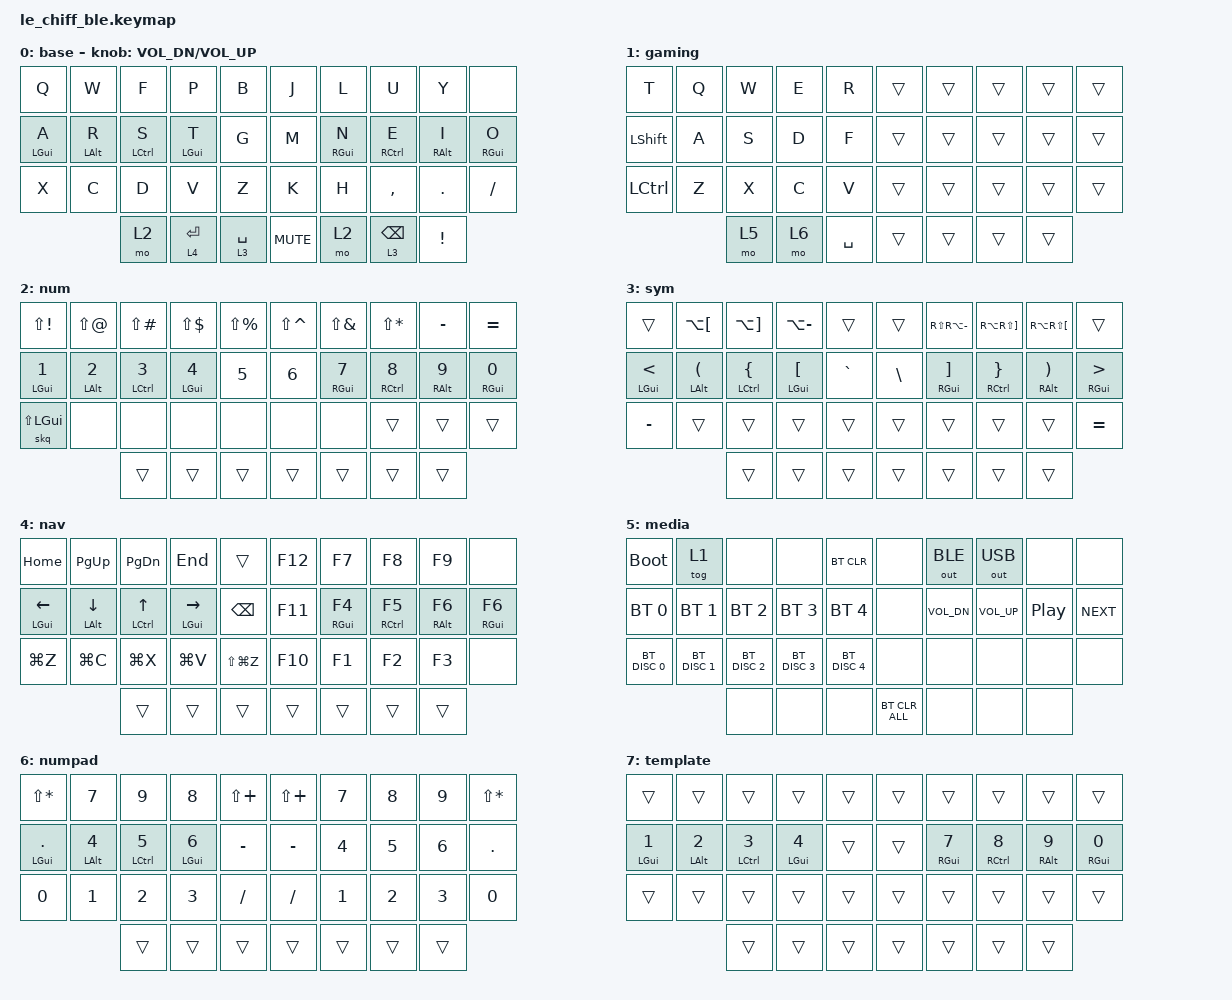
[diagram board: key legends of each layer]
/*
 * Copyright (c) 2021 @MangoIV
 *
 * SPDX-License-Identifier: MIT
 */

#include <behaviors.dtsi>
#include <dt-bindings/zmk/bt.h>
#include <dt-bindings/zmk/keys.h>
#include <dt-bindings/zmk/outputs.h>

// makes it possible to hold backspace

&lt { quick_tap_ms = <200>; };

/ {
    combos {
        compatible = "zmk,combos";

        tab {
            bindings = <&kp TAB>;
            key-positions = <3 2>;
        };

        esc {
            bindings = <&kp ESC>;
            key-positions = <1 2>;
        };

        semi {
            bindings = <&kp SEMI>;
            key-positions = <12 13>;
            timeout-ms = <25>;
        };

        aptos {
            bindings = <&kp APOS>;
            key-positions = <16 17>;
        };

        caps_word {
            bindings = <&caps_word>;
            key-positions = <13 16>;
        };

        caps_lock {
            bindings = <&kp CAPS>;
            key-positions = <11 12 17 18>;
        };

        lshift {
            bindings = <&skq LSHFT>;
            key-positions = <11 12>;
        };

        rshift {
            bindings = <&skq RSHIFT>;
            key-positions = <18 17>;
        };

        colon {
            bindings = <&kp COLON>;
            key-positions = <13 11>;
        };

        double_aptos {
            bindings = <&kp DOUBLE_QUOTES>;
            key-positions = <16 18>;
        };

        numpad {
            bindings = <&mo 6>;
            key-positions = <31 32>;
        };

        numpad2 {
            bindings = <&mo 6>;
            key-positions = <35 34>;
        };

        connectivity {
            bindings = <&mo 5>;
            key-positions = <31 35>;
        };
    };

    behaviors {
        hrm_left: homerow_mods_left {
            compatible = "zmk,behavior-hold-tap";
            label = "homerow_mods_left";
            bindings = <&kp>, <&kp>;

            #binding-cells = <2>;
            flavor = "balanced";
            tapping-term-ms = <200>;
            hold-trigger-key-positions = <5 6 7 8 9 15 16 17 18 19 25 26 27 28 29 34 35 36>;
            quick-tap-ms = <150>;
            require-prior-idle-ms = <125>;
        };

        hrm_right: homerow_mods_right {
            compatible = "zmk,behavior-hold-tap";
            label = "homerow_mods_right";
            bindings = <&kp>, <&kp>;

            #binding-cells = <2>;
            flavor = "balanced";
            tapping-term-ms = <200>;
            quick-tap-ms = <150>;
            require-prior-idle-ms = <125>;
            hold-trigger-key-positions = <0 1 2 3 4 10 11 12 13 14 20 21 22 23 24 30 31 32>;
        };

        skq: stickykey_quickrelease {
            compatible = "zmk,behavior-sticky-key";
            label = "stickykey_quickrelease";
            bindings = <&kp>;
            #binding-cells = <1>;
            release-after-ms = <1000>;
            quick-release;
            ignore-modifiers;
        };
    };

    keymap {
        compatible = "zmk,keymap";

        default {
            label = "base";
            bindings = <
&kp Q             &kp W             &kp F              &kp P                 &kp B        &kp J       &kp L              &kp U               &kp Y              &none
&hrm_left LGUI A  &hrm_left LALT R  &hrm_left LCTRL S  &hrm_left LEFT_GUI T  &kp G        &kp M       &hrm_right RGUI N  &hrm_right RCTRL E  &hrm_right RALT I  &hrm_right RGUI O
&kp X             &kp C             &kp D              &kp V                 &kp Z        &kp K       &kp H              &kp COMMA           &kp DOT            &kp FSLH
                                    &mo 2              &lt 4 ENTER           &lt 3 SPACE  &kp C_MUTE  &mo 2              &lt 3 BACKSPACE     &kp EXCL
            >;

            sensor-bindings = <&inc_dec_kp C_VOL_DN C_VOL_UP>;
        };

        gaming {
            bindings = <
&kp T      &kp Q  &kp W  &kp E  &kp R      &trans  &trans  &trans  &trans  &trans
&kp LSHFT  &kp A  &kp S  &kp D  &kp F      &trans  &trans  &trans  &trans  &trans
&kp LCTRL  &kp Z  &kp X  &kp C  &kp V      &trans  &trans  &trans  &trans  &trans
                  &mo 5  &mo 6  &kp SPACE  &trans  &trans  &trans  &trans
            >;
        };

        num {
            bindings = <
&kp LS(EXCL)       &kp LS(AT)         &kp LS(POUND)       &kp LS(DLLR)       &kp LS(PRCNT)  &kp LS(CARET)  &kp LS(AMPS)        &kp LS(STAR)         &kp MINUS           &kp EQUAL
&hrm_left LGUI N1  &hrm_left LALT N2  &hrm_left LCTRL N3  &hrm_left LGUI N4  &kp N5         &kp N6         &hrm_right RGUI N7  &hrm_right RCTRL N8  &hrm_right RALT N9  &hrm_right RGUI N0
&skq LS(LEFT_GUI)  &none              &none               &none              &none          &none          &none               &trans               &trans              &trans
                                      &trans              &trans             &trans         &trans         &trans              &trans               &trans
            >;
        };

        sym {
            bindings = <
&trans             &kp LA(LBKT)         &kp LA(RBKT)          &kp LA(MINUS)        &trans     &trans    &kp RS(RA(MINUS))     &kp RA(RS(RBKT))       &kp RA(RS(LBKT))      &trans
&hrm_left LGUI LT  &hrm_left LALT LPAR  &hrm_left LCTRL LBRC  &hrm_left LGUI LBKT  &kp GRAVE  &kp BSLH  &hrm_right RGUI RBKT  &hrm_right RCTRL RBRC  &hrm_right RALT RPAR  &hrm_right RGUI GREATER_THAN
&kp MINUS          &trans               &trans                &trans               &trans     &trans    &trans                &trans                 &trans                &kp EQUAL
                                        &trans                &trans               &trans     &trans    &trans                &trans                 &trans
            >;
        };

        nav {
            bindings = <
&kp HOME             &kp PG_UP            &kp PG_DN           &kp END               &trans         &kp F12  &kp F7              &kp F8               &kp F9              &none
&hrm_left LGUI LEFT  &hrm_left LALT DOWN  &hrm_left LCTRL UP  &hrm_left LGUI RIGHT  &kp BACKSPACE  &kp F11  &hrm_right RGUI F4  &hrm_right RCTRL F5  &hrm_right RALT F6  &hrm_right RGUI F6
&kp LG(Z)            &kp LG(C)            &kp LG(X)           &kp LG(V)             &kp LS(LG(Z))  &kp F10  &kp F1              &kp F2               &kp F3              &none
                                          &trans              &trans                &trans         &trans   &trans              &trans               &trans
            >;
        };

        media {
            bindings = <
&bootloader    &tog 1         &none          &none          &bt BT_CLR     &none           &out OUT_BLE  &out OUT_USB     &none             &none
&bt BT_SEL 0   &bt BT_SEL 1   &bt BT_SEL 2   &bt BT_SEL 3   &bt BT_SEL 4   &none           &kp C_VOL_DN  &kp C_VOLUME_UP  &kp C_PLAY_PAUSE  &kp C_NEXT
&bt BT_DISC 0  &bt BT_DISC 1  &bt BT_DISC 2  &bt BT_DISC 3  &bt BT_DISC 4  &none           &none         &none            &none             &none
                              &none          &none          &none          &bt BT_CLR_ALL  &none         &none            &none
            >;
        };

        numpad {
            bindings = <
&kp LS(STAR)               &kp N7                   &kp N9              &kp N8                 &kp LS(PLUS)  &kp LS(PLUS)  &kp N7  &kp N8  &kp N9  &kp LS(STAR)
&hrm_left LEFT_GUI PERIOD  &hrm_left LALT NUMBER_4  &hrm_left LCTRL N5  &hrm_left LEFT_GUI N6  &kp MINUS     &kp MINUS     &kp N4  &kp N5  &kp N6  &kp DOT
&kp N0                     &kp N1                   &kp N2              &kp N3                 &kp FSLH      &kp FSLH      &kp N1  &kp N2  &kp N3  &kp N0
                                                    &trans              &trans                 &trans        &trans        &trans  &trans  &trans
            >;
        };

        template {
            bindings = <
&trans             &trans             &trans              &trans             &trans  &trans  &trans              &trans               &trans              &trans
&hrm_left LGUI N1  &hrm_left LALT N2  &hrm_left LCTRL N3  &hrm_left LGUI N4  &trans  &trans  &hrm_right RGUI N7  &hrm_right RCTRL N8  &hrm_right RALT N9  &hrm_right RGUI N0
&trans             &trans             &trans              &trans             &trans  &trans  &trans              &trans               &trans              &trans
                                      &trans              &trans             &trans  &trans  &trans              &trans               &trans
            >;
        };
    };
};
